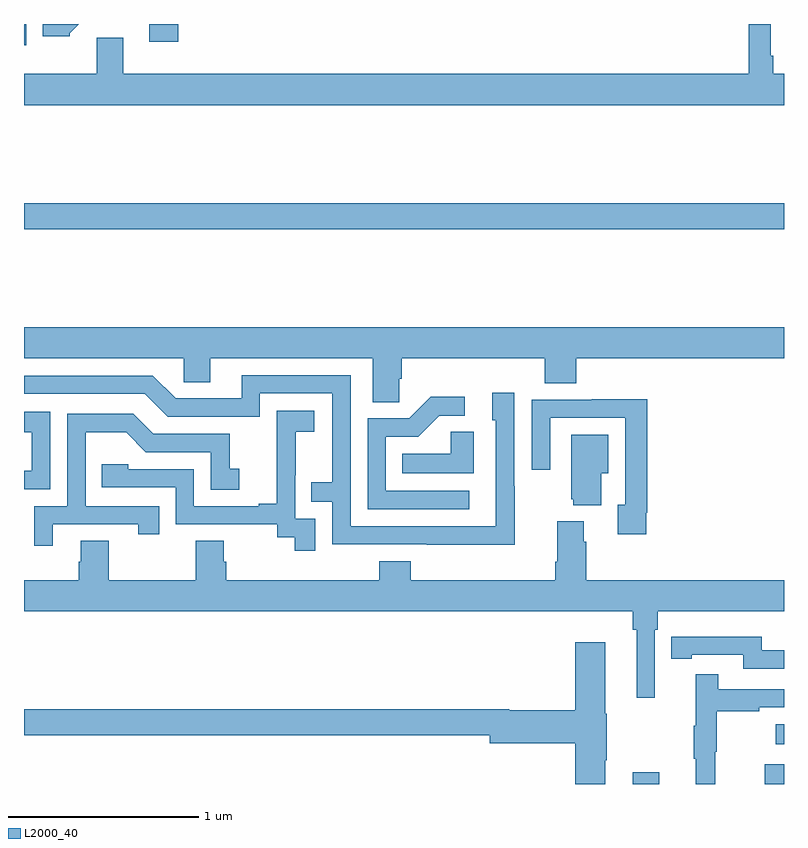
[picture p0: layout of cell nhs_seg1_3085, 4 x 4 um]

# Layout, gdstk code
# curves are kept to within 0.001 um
import gdstk
lib = gdstk.Library(unit=1e-6, precision=1e-09)
def R(c, l, rs):  # rectangles x0, y0, x1, y1
    for r in rs: c.add(gdstk.rectangle(r[:2], r[2:], *l))
def P(c, l, *ps):  # polygons
    for p in ps: c.add(gdstk.Polygon(p, *l))
L2000_40 = (2000, 40)

nhs_seg1_3085 = lib.new_cell('nhs_seg1_3085')
R(nhs_seg1_3085, L2000_40, [(282.203,508.199,282.343,508.261), (282.899,508.199,283,508.303), (282.957,508.409,283,508.513), (279,511.12,283,511.256), (279,512.088,279.013,512.199), (279.659,512.106,279.812,512.199)])
P(nhs_seg1_3085, L2000_40, [(279.24,512.15),(279.289,512.199),(279.098,512.199),(279.098,512.135),(279.24,512.135)],
  [(283,511.936),(282.943,511.936),(282.943,512.032),(282.93,512.032),(282.93,512.199),(282.814,512.199),(282.814,511.936),(279.523,511.936),(279.523,512.126),(279.383,512.126),(279.383,511.936),(279,511.936),(279,511.772),(283,511.772)],
  [(280.974,510.331),(280.988,510.331),(280.988,510.44),(281.741,510.44),(281.741,510.307),(281.906,510.307),(281.906,510.44),(283,510.44),(283,510.604),(279,510.604),(279,510.44),(279.84,510.44),(279.84,510.313),(279.979,510.313),(279.979,510.44),(280.835,510.44),(280.835,510.208),(280.974,510.208)],
  [(281.583,509.765),(281.58,509.765),(281.58,510.259),(281.465,510.259),(281.465,510.114),(281.484,510.114),(281.484,509.556),(280.719,509.556),(280.719,510.351),(280.145,510.351),(280.145,510.228),(279.798,510.228),(279.678,510.348),(279,510.348),(279,510.252),(279.636,510.252),(279.756,510.132),(280.242,510.132),(280.242,510.255),(280.623,510.255),(280.623,509.786),(280.513,509.786),(280.513,509.685),(280.623,509.685),(280.623,509.46),(281.583,509.459)],
  [(281.344,509.742),(280.905,509.742),(280.905,510.027),(281.074,510.027),(281.185,510.138),(281.32,510.138),(281.32,510.236),(281.141,510.236),(281.028,510.123),(280.809,510.123),(280.809,509.646),(281.344,509.646)],
  [(282.274,509.626),(282.281,509.626),(282.281,510.224),(281.989,510.224),(281.989,510.222),(281.673,510.222),(281.673,509.853),(281.769,509.853),(281.769,510.126),(282.165,510.126),(282.165,509.67),(282.125,509.67),(282.125,509.514),(282.274,509.514)],
  [(280.533,509.595),(280.428,509.595),(280.428,509.825),(280.43,509.825),(280.43,510.053),(280.528,510.053),(280.528,510.163),(280.33,510.163),(280.33,509.957),(280.331,509.957),(280.331,509.674),(280.235,509.674),(280.235,509.661),(279.894,509.661),(279.894,509.856),(279.549,509.856),(279.549,509.883),(279.409,509.883),(279.409,509.76),(279.798,509.76),(279.798,509.565),(280.332,509.565),(280.332,509.497),(280.425,509.497),(280.425,509.427),(280.533,509.427)],
  [(279.138,510.157),(279,510.157),(279,510.051),(279.041,510.051),(279.041,509.847),(279,509.847),(279,509.751),(279.138,509.751)],
  [(279.151,509.565),(279.602,509.565),(279.602,509.514),(279.713,509.514),(279.713,509.661),(279.324,509.661),(279.324,510.05),(279.538,510.05),(279.642,509.946),(279.984,509.946),(279.984,509.748),(280.132,509.748),(280.132,509.857),(280.083,509.857),(280.083,510.042),(279.679,510.042),(279.574,510.147),(279.228,510.147),(279.228,509.661),(279.054,509.661),(279.054,509.454),(279.151,509.454)],
  [(281.368,510.053),(281.247,510.053),(281.247,509.938),(280.99,509.938),(280.99,509.834),(281.368,509.834)],
  [(282.037,509.834),(282.076,509.834),(282.076,510.037),(281.879,510.037),(281.879,509.697),(281.891,509.697),(281.891,509.666),(282.037,509.666)],
  [(282.321,509.012),(282.335,509.012),(282.335,509.108),(283,509.108),(283,509.272),(281.96,509.272),(281.96,509.474),(281.947,509.474),(281.947,509.581),(281.807,509.581),(281.807,509.368),(281.795,509.368),(281.795,509.272),(281.036,509.272),(281.036,509.371),(280.871,509.371),(280.871,509.272),(280.064,509.272),(280.064,509.37),(280.051,509.37),(280.051,509.48),(279.904,509.48),(279.904,509.272),(279.447,509.272),(279.447,509.48),(279.299,509.48),(279.299,509.37),(279.287,509.37),(279.287,509.272),(279,509.272),(279,509.108),(282.205,509.108),(282.205,509.012),(282.224,509.012),(282.224,508.653),(282.321,508.653)],
  [(283,508.902),(282.882,508.902),(282.882,508.975),(282.514,508.975),(282.514,508.974),(282.406,508.974),(282.406,508.858),(282.514,508.858),(282.514,508.878),(282.786,508.878),(282.786,508.806),(283,508.806)],
  [(282.058,508.325),(282.066,508.325),(282.066,508.569),(282.058,508.569),(282.058,508.945),(281.9,508.945),(281.9,508.586),(281.554,508.586),(281.554,508.592),(279,508.592),(279,508.456),(281.45,508.456),(281.45,508.414),(281.9,508.414),(281.9,508.199),(282.058,508.199)],
  [(282.638,508.368),(282.646,508.368),(282.646,508.582),(282.869,508.582),(282.869,508.602),(283,508.602),(283,508.698),(282.653,508.698),(282.653,508.777),(282.536,508.777),(282.536,508.505),(282.525,508.505),(282.525,508.331),(282.536,508.331),(282.536,508.199),(282.638,508.199)])

lib.write_gds('nhs_seg1_3085.gds')
